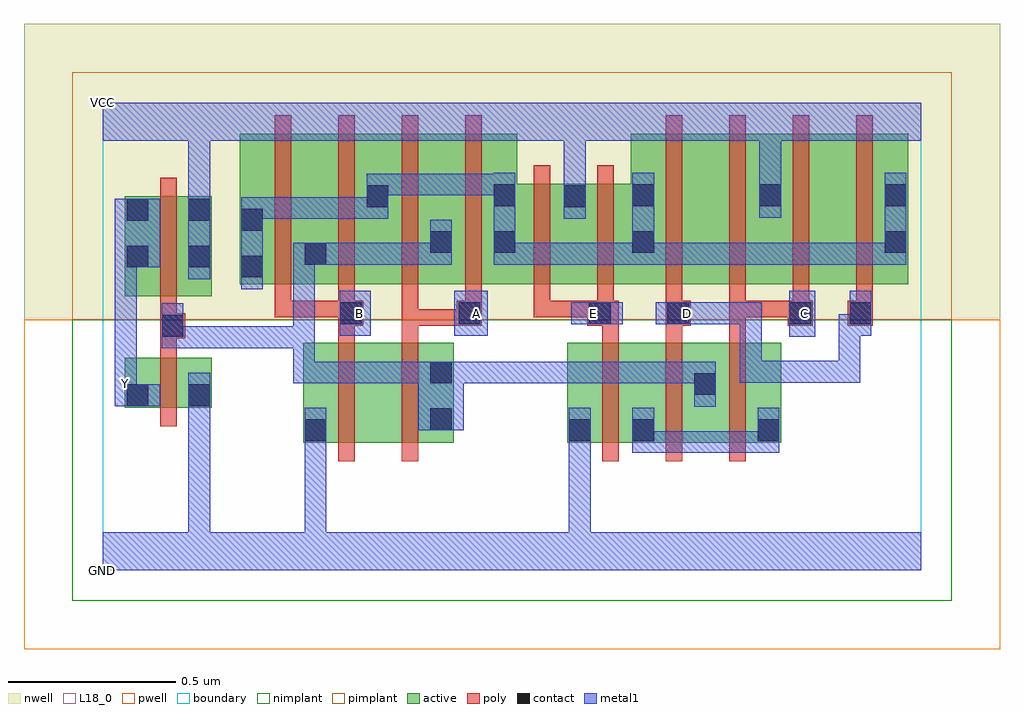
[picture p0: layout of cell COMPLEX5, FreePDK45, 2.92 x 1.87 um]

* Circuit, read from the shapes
.subckt COMPLEX5 A B C D E GND VCC Y
M1 GND n1 Y VSUBS nfet w=0.15u l=0.05u
M2 n2 B GND VSUBS nfet w=0.3u l=0.05u
M3 n1 A n2 VSUBS nfet w=0.3u l=0.05u
M4 n3 E GND VSUBS nfet w=0.3u l=0.05u
M5 n1 D n3 VSUBS nfet w=0.3u l=0.05u
M6 n3 C n1 VSUBS nfet w=0.3u l=0.05u
M7 VCC n1 Y n4 pfet w=0.3u l=0.05u
M8 n1 B n5 n4 pfet w=0.45u l=0.05u m=2
M9 n1 A n5 n4 pfet w=0.45u l=0.05u m=2
M10 VCC E n5 n4 pfet w=0.3u l=0.05u m=2
M11 n6 D n5 n4 pfet w=0.45u l=0.05u
M12 VCC C n6 n4 pfet w=0.45u l=0.05u
M13 n7 C VCC n4 pfet w=0.45u l=0.05u
M14 n5 D n7 n4 pfet w=0.45u l=0.05u
.ends

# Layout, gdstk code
import gdstk
lib = gdstk.Library(unit=1e-6, precision=1e-09)
def R(c, l, rs):  # rectangles x0, y0, x1, y1
    for r in rs: c.add(gdstk.rectangle(r[:2], r[2:], *l))
def A(c, l, x, y, w, h, nx, ny, dx, dy):  # array of equal rectangles
    R(c, l, [(x+i*dx, y+j*dy, x+i*dx+w, y+j*dy+h) for i in range(nx) for j in range(ny)])
active = (1, 0)
pwell = (2, 0)
nwell = (3, 0)
nimplant = (4, 0)
pimplant = (5, 0)
poly = (9, 0)
contact = (10, 0)
metal1 = (11, 0)
L18_0 = (18, 0)
boundary = (235, 0)

complex5 = lib.new_cell('COMPLEX5')
R(complex5, active, [(0.6,0.382,0.675,0.547), (0.6,0.382,0.825,0.682), (0.825,0.382,1.05,0.682), (1.39,0.382,1.465,0.682), (1.39,0.382,1.655,0.682), (1.58,0.382,1.84,0.682), (1.58,0.382,1.655,0.547), (1.765,0.382,2.03,0.682), (1.765,0.382,1.84,0.595), (1.955,0.382,2.03,0.682), (0.975,0.395,1.05,0.682), (0.067,0.487,0.142,0.637), (0.067,0.487,0.327,0.637), (0.252,0.487,0.327,0.637), (0.067,0.82,0.142,1.12), (0.067,0.82,0.327,1.12), (0.252,0.82,0.327,1.12), (0.41,0.857,0.485,1.2), (0.41,0.857,0.675,1.307), (0.6,0.857,0.675,1.07), (0.6,0.857,0.86,1.307), (0.785,0.857,0.86,1.2), (0.785,0.857,1.05,1.307), (0.975,0.857,1.05,1.07), (0.975,0.857,1.24,1.307), (1.165,0.857,1.24,1.2), (1.165,0.857,1.45,1.157), (1.375,0.857,1.655,1.157), (1.58,0.857,1.655,1.2), (1.58,0.857,1.805,1.307), (1.805,0.857,2.035,1.307), (1.96,0.857,2.185,1.307), (1.96,0.857,2.035,1.255), (2.185,0.857,2.41,1.307), (2.335,0.857,2.41,1.2), (1.375,1.007,1.45,1.157)])
R(complex5, pwell, [(-0.235,-0.235,2.685,0.75)])
R(complex5, nwell, [(-0.235,0.75,2.685,1.635)])
R(complex5, nimplant, [(-0.09,-0.09,2.54,0.75)])
R(complex5, pimplant, [(-0.09,0.75,2.54,1.49)])
A(complex5, poly, 1.495, 0.327, 0.05, 0.41, 3, 1, 0.19, 0)
A(complex5, poly, 1.685, 0.757, 0.05, 0.095, 4, 1, 0.19, 0)
A(complex5, poly, 0.515, 0.802, 0.05, 0.56, 4, 1, 0.19, 0)
A(complex5, poly, 1.685, 0.802, 0.05, 0.56, 4, 1, 0.19, 0)
R(complex5, poly, [(0.705,0.327,0.755,0.737), (0.895,0.327,0.945,0.737), (0.172,0.432,0.222,0.692), (0.172,0.642,0.222,0.745), (0.705,0.687,0.755,0.782), (0.895,0.687,0.945,0.782), (1.495,0.687,1.545,0.782), (1.685,0.687,1.735,0.782), (1.875,0.687,1.925,0.807), (0.172,0.695,0.247,0.77), (0.172,0.72,0.222,0.815), (0.705,0.732,0.78,0.807), (0.895,0.732,0.945,0.782), (0.895,0.732,0.945,0.852), (0.895,0.732,1.11,0.782), (1.06,0.732,1.135,0.807), (1.06,0.732,1.11,0.782), (1.06,0.732,1.11,0.782), (1.45,0.732,1.545,0.807), (1.685,0.732,1.76,0.807), (2.05,0.732,2.125,0.807), (2.23,0.732,2.305,0.807), (0.515,0.757,0.565,0.852), (0.515,0.757,0.565,0.807), (0.515,0.757,0.565,0.807), (0.515,0.757,0.565,0.807), (0.515,0.757,0.755,0.807), (0.705,0.757,0.755,0.852), (1.085,0.757,1.135,0.852), (1.29,0.757,1.34,0.852), (1.29,0.757,1.34,0.807), (1.29,0.757,1.5,0.807), (1.45,0.757,1.5,0.807), (1.45,0.757,1.5,0.807), (1.48,0.757,1.53,0.852), (1.875,0.757,1.925,0.807), (1.875,0.757,2.1,0.807), (2.05,0.757,2.1,0.807), (2.05,0.757,2.1,0.807), (0.172,0.765,0.222,1.175), (1.29,0.802,1.34,1.212), (1.48,0.802,1.53,1.212)])
R(complex5, contact, [(0.605,0.387,0.67,0.452), (1.395,0.387,1.46,0.452), (1.585,0.387,1.65,0.452), (1.96,0.387,2.025,0.452), (0.98,0.42,1.045,0.485), (0.072,0.492,0.137,0.557), (0.257,0.492,0.322,0.557), (1.77,0.525,1.835,0.59), (0.98,0.56,1.045,0.625), (0.177,0.7,0.242,0.765), (0.71,0.737,0.775,0.802), (1.065,0.737,1.13,0.802), (1.455,0.737,1.52,0.802), (1.69,0.737,1.755,0.802), (2.055,0.737,2.12,0.802), (2.235,0.737,2.3,0.802), (0.415,0.877,0.48,0.942), (0.072,0.907,0.137,0.972), (0.257,0.907,0.322,0.972), (0.605,0.915,0.67,0.98), (0.98,0.95,1.045,1.015), (1.17,0.95,1.235,1.015), (1.585,0.95,1.65,1.015), (2.34,0.95,2.405,1.015), (0.415,1.017,0.48,1.082), (0.072,1.047,0.137,1.112), (0.257,1.047,0.322,1.112), (0.79,1.087,0.855,1.152), (1.38,1.087,1.445,1.152), (1.17,1.09,1.235,1.155), (1.585,1.09,1.65,1.155), (1.965,1.09,2.03,1.155), (2.34,1.09,2.405,1.155)])
R(complex5, metal1, [(0,0,2.45,0.115), (0.257,0.05,0.322,0.115), (0.257,0.05,0.322,0.115), (0.257,0.05,0.322,0.115), (0.257,0.05,0.322,0.115), (0.257,0.05,0.322,0.522), (0.605,0.05,0.67,0.417), (1.395,0.05,1.46,0.417), (0.605,0.352,0.67,0.417), (0.605,0.352,0.67,0.417), (0.605,0.352,0.67,0.417), (0.605,0.352,0.67,0.417), (0.605,0.352,0.67,0.487), (1.395,0.352,1.46,0.417), (1.395,0.352,1.46,0.417), (1.395,0.352,1.46,0.417), (1.395,0.352,1.46,0.417), (1.395,0.352,1.46,0.487), (1.585,0.352,1.65,0.487), (1.585,0.352,1.787,0.417), (1.722,0.352,1.787,0.417), (1.722,0.352,1.787,0.417), (1.722,0.352,1.787,0.417), (1.722,0.352,1.972,0.417), (1.907,0.352,1.972,0.417), (1.907,0.352,2.025,0.417), (1.96,0.352,2.025,0.487), (0.945,0.42,1.08,0.625), (0.257,0.457,0.322,0.522), (0.257,0.457,0.322,0.522), (0.257,0.457,0.322,0.592), (1.77,0.49,1.835,0.625), (0.037,0.492,0.102,0.557), (0.037,0.492,0.102,0.627), (0.037,0.492,0.172,0.557), (0.57,0.56,0.635,0.625), (0.57,0.56,0.635,0.625), (0.57,0.56,0.635,0.625), (0.57,0.56,0.842,0.625), (0.57,0.56,0.635,0.73), (0.777,0.56,0.842,0.625), (0.777,0.56,0.842,0.625), (0.777,0.56,0.842,0.625), (0.777,0.56,1.01,0.625), (1.015,0.56,1.08,0.625), (1.015,0.56,1.08,0.625), (1.015,0.56,1.29,0.625), (1.225,0.56,1.29,0.625), (1.225,0.56,1.29,0.625), (1.225,0.56,1.29,0.625), (1.225,0.56,1.512,0.625), (1.447,0.56,1.512,0.625), (1.447,0.56,1.512,0.625), (1.447,0.56,1.512,0.625), (1.447,0.56,1.65,0.625), (1.585,0.56,1.65,0.625), (1.585,0.56,1.835,0.625), (1.77,0.56,1.835,0.625), (1.77,0.56,1.835,0.625), (0.037,0.562,0.102,0.972), (1.907,0.562,1.972,0.627), (1.907,0.562,2.11,0.627), (1.907,0.562,1.972,0.802), (2.045,0.562,2.11,0.627), (2.045,0.562,2.267,0.627), (2.202,0.562,2.267,0.627), (2.202,0.562,2.267,0.767), (0.177,0.665,0.242,0.73), (0.177,0.665,0.242,0.73), (0.177,0.665,0.242,0.8), (0.177,0.665,0.425,0.73), (0.36,0.665,0.425,0.73), (0.36,0.665,0.425,0.73), (0.36,0.665,0.425,0.73), (0.36,0.665,0.635,0.73), (0.57,0.665,0.635,0.73), (0.57,0.665,0.635,0.98), (2.055,0.7,2.132,0.837), (0.71,0.702,0.802,0.837), (1.052,0.702,1.152,0.837), (2.202,0.702,2.267,0.767), (2.202,0.702,2.3,0.767), (2.235,0.702,2.3,0.837), (1.402,0.737,1.557,0.802), (1.655,0.737,1.817,0.802), (1.752,0.737,1.817,0.802), (1.752,0.737,1.817,0.802), (1.752,0.737,1.972,0.802), (1.907,0.737,1.972,0.802), (1.907,0.737,1.972,0.802), (1.907,0.737,1.972,0.802), (0.415,0.842,0.48,1.117), (0.257,0.872,0.322,1.147), (0.037,0.907,0.172,1.112), (0.57,0.915,0.705,0.98), (0.64,0.915,0.705,0.98), (0.64,0.915,0.705,0.98), (0.64,0.915,0.872,0.98), (0.807,0.915,0.872,0.98), (0.807,0.915,0.872,0.98), (0.807,0.915,0.872,0.98), (0.807,0.915,1.045,0.98), (0.98,0.915,1.045,1.05), (1.17,0.915,1.235,0.98), (1.17,0.915,1.235,0.98), (1.17,0.915,1.235,0.98), (1.17,0.915,1.235,0.98), (1.17,0.915,1.235,1.19), (1.17,0.915,1.512,0.98), (1.447,0.915,1.512,0.98), (1.447,0.915,1.512,0.98), (1.447,0.915,1.512,0.98), (1.447,0.915,1.65,0.98), (1.585,0.915,1.65,1.19), (1.585,0.915,1.787,0.98), (1.722,0.915,1.787,0.98), (1.722,0.915,1.787,0.98), (1.722,0.915,1.787,0.98), (1.722,0.915,1.972,0.98), (1.907,0.915,1.972,0.98), (1.907,0.915,1.972,0.98), (1.907,0.915,1.972,0.98), (1.907,0.915,2.162,0.98), (2.097,0.915,2.162,0.98), (2.097,0.915,2.162,0.98), (2.097,0.915,2.162,0.98), (2.097,0.915,2.405,0.98), (2.34,0.915,2.405,0.98), (2.34,0.915,2.405,0.98), (2.34,0.915,2.405,1.19), (0.415,1.052,0.48,1.117), (0.415,1.052,0.48,1.117), (0.415,1.052,0.617,1.117), (0.552,1.052,0.617,1.117), (0.552,1.052,0.617,1.117), (0.552,1.052,0.617,1.117), (0.552,1.052,0.855,1.117), (0.79,1.052,0.855,1.187), (1.38,1.052,1.445,1.187), (1.965,1.055,2.03,1.19), (0.257,1.082,0.322,1.35), (0.79,1.122,0.855,1.187), (0.79,1.122,0.855,1.187), (0.79,1.122,1.01,1.187), (0.945,1.122,1.01,1.187), (0.945,1.122,1.01,1.187), (0.945,1.122,1.01,1.187), (0.945,1.122,1.235,1.187), (1.38,1.122,1.445,1.35), (1.965,1.125,2.03,1.35), (0,1.285,2.45,1.4), (0.257,1.285,0.322,1.35), (0.257,1.285,0.322,1.35), (1.38,1.285,1.445,1.35), (1.38,1.285,1.445,1.35)])
A(complex5, L18_0, 0.737, 0.737, 0.065, 0.065, 3, 1, 0.35, 0)
R(complex5, L18_0, [(0,0,2.45,0.115), (0.257,0.05,0.322,0.115), (0.257,0.05,0.322,0.115), (0.257,0.05,0.322,0.115), (0.257,0.05,0.322,0.115), (0.257,0.05,0.322,0.522), (0.605,0.05,0.67,0.417), (1.395,0.05,1.46,0.417), (0.605,0.352,0.67,0.487), (0.605,0.352,0.67,0.417), (0.605,0.352,0.67,0.417), (0.605,0.352,0.67,0.417), (0.605,0.352,0.67,0.417), (1.395,0.352,1.46,0.487), (1.395,0.352,1.46,0.417), (1.395,0.352,1.46,0.417), (1.395,0.352,1.46,0.417), (1.395,0.352,1.46,0.417), (0.257,0.457,0.322,0.592), (0.257,0.457,0.322,0.522), (0.257,0.457,0.322,0.522), (0.037,0.492,0.172,0.557), (0.037,0.492,0.102,0.627), (0.037,0.492,0.102,0.557), (0.037,0.527,0.102,0.592), (0.037,0.562,0.102,0.972), (1.907,0.562,1.972,0.627), (1.907,0.562,1.972,0.802), (1.907,0.562,2.11,0.627), (2.045,0.562,2.11,0.627), (2.045,0.562,2.267,0.627), (2.202,0.562,2.267,0.627), (2.202,0.562,2.267,0.767), (2.055,0.7,2.132,0.837), (0.71,0.702,0.802,0.837), (1.052,0.702,1.152,0.837), (2.202,0.702,2.267,0.767), (2.202,0.702,2.3,0.767), (2.235,0.702,2.3,0.837), (1.402,0.737,1.557,0.802), (1.655,0.737,1.817,0.802), (1.717,0.737,1.782,0.802), (1.752,0.737,1.817,0.802), (1.752,0.737,1.817,0.802), (1.752,0.737,1.972,0.802), (1.907,0.737,1.972,0.802), (1.907,0.737,1.972,0.802), (1.907,0.737,1.972,0.802), (2.067,0.737,2.132,0.802), (0.257,0.872,0.322,1.147), (0.037,0.907,0.172,1.112), (1.38,1.052,1.445,1.187), (1.965,1.055,2.03,1.19), (0.257,1.082,0.322,1.35), (1.38,1.122,1.445,1.35), (1.965,1.125,2.03,1.35), (0,1.285,2.45,1.4), (0.257,1.285,0.322,1.35), (0.257,1.285,0.322,1.35), (1.38,1.285,1.445,1.35), (1.38,1.285,1.445,1.35)])
R(complex5, boundary, [(0,0,2.45,1.4)])
complex5.add(gdstk.Label('A', (1.12,0.77), layer=11, texttype=0))
complex5.add(gdstk.Label('B', (0.77,0.77), layer=11, texttype=0))
complex5.add(gdstk.Label('C', (2.1,0.77), layer=11, texttype=0))
complex5.add(gdstk.Label('D', (1.75,0.77), layer=11, texttype=0))
complex5.add(gdstk.Label('E', (1.47,0.77), layer=11, texttype=0))
complex5.add(gdstk.Label('Y', (0.07,0.56), layer=11, texttype=0))
complex5.add(gdstk.Label('VCC', (0,1.4), layer=11, texttype=0))
complex5.add(gdstk.Label('GND', (0,0), layer=11, texttype=0))

lib.write_gds('COMPLEX5.gds')
